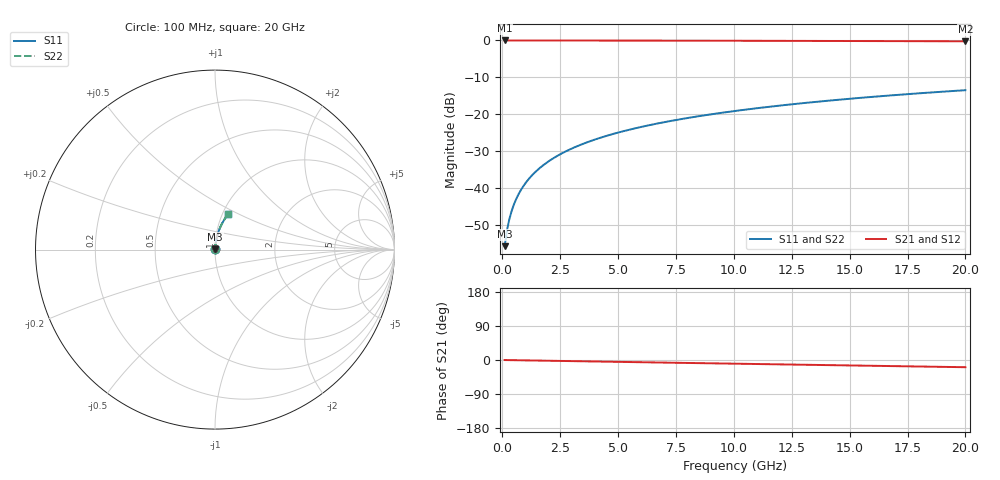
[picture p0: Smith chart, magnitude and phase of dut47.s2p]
! Touchstone file exported from HFSS 2026.1.0
!  File:  C:/ffzhzh/LocalFiles/Ansys_Project_Files/temp_train_TMRDL_47_1782880810_46784.aedt
!  Generated:  12:41:23 PM Jul  1, 2026
!  Design:  TMRDL
!  Project:  temp_train_TMRDL_47_1782880810_46784
! Variables:
!  h_bsmrdl = 2um
!  h_ox = 20um
!  h_rdl = 5um
!  h_sub = 80um
!  h_tmrdl = 5.15um
!  h_tsv = 80um
!  h_via = 3um
!  l_bsmrdl = 300um
!  l_sub = 629.77um
!  l_tmrdl = 229.77um
!  m_sub = 200um
!  pitch = 48.3um
!  r_tsv = 6um
!  s_tmrdl = 10um
!  w_bsmrdl = 18um
!  w_sub = 500um
!  w_tmrdl = 16.54um
!  x_tsv_center1 = 238.04um
!  x_tsv_center2 = 556.04um
!  x_tsv_center3 = 802.35um
!  x_tsv_center4 = 1120.35um
!  x_tsv_center5 = 1366.66um
!  x_tsv_center6 = 1684.66um
# GHz S MA R 50.000000
! Terminal data exported
! Port[1] = TM_RDL1_1_T1
! Port[2] = TM_RDL1_1_T2
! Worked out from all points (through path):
!   200 points, 100 MHz to 20 GHz, reference 50 ohm
!   highest |S21| = -0.01 dB at 100 MHz (marker M1); lowest = -0.2 dB at 20 GHz (marker M2)
!   group delay of S21, straight-line fit = 2.64 ps
!   lowest |S11| = -55.8 dB at 100 MHz (marker M3), VSWR 1.00, Z = 50.1 + j0.12 ohm
!   |S11| at or under -10 dB: start of sweep to end of sweep
!   |S22| runs from -55.8 to -13.5 dB; largest |S21 - S12| = 2e-15
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0.1  0.001615 48.0  0.9989 -0.1  0.9989 -0.1  0.001615 48.0
! Gamma 0 0 0 0
! Port Impedance 50 0 50 0
0.2  0.002626 64.5  0.9989 -0.2  0.9989 -0.2  0.002626 64.5
0.3  0.003708 71.5  0.9988 -0.3  0.9988 -0.3  0.003708 71.5
0.4  0.00481 75.3  0.9988 -0.4  0.9988 -0.4  0.00481 75.3
0.5  0.005924 77.7  0.9988 -0.5  0.9988 -0.5  0.005924 77.7
0.7  0.00817 80.5  0.9987 -0.7  0.9987 -0.7  0.00817 80.5
0.8  0.009299 81.4  0.9987 -0.8  0.9987 -0.8  0.009299 81.4
1  0.01156 82.6  0.9986 -1.0  0.9986 -1.0  0.01156 82.6
1.2  0.01383 83.3  0.9985 -1.2  0.9985 -1.2  0.01383 83.3
1.4  0.0161 83.7  0.9985 -1.4  0.9985 -1.4  0.0161 83.7
1.7  0.0195 84.0  0.9983 -1.7  0.9983 -1.7  0.0195 84.0
2  0.02289 84.2  0.9982 -2.0  0.9982 -2.0  0.02289 84.2
2.7  0.03076 84.1  0.9978 -2.7  0.9978 -2.7  0.03076 84.1
3.5  0.03967 83.6  0.9972 -3.5  0.9972 -3.5  0.03967 83.6
4.2  0.0474 83.1  0.9966 -4.1  0.9966 -4.1  0.0474 83.1
5  0.05618 82.5  0.9959 -4.9  0.9959 -4.9  0.05618 82.5
6.8  0.07569 81.0  0.9941 -6.7  0.9941 -6.7  0.07569 81.0
8.3  0.09176 79.8  0.9924 -8.1  0.9924 -8.1  0.09176 79.8
10.1  0.1108 78.2  0.99 -9.8  0.99 -9.8  0.1108 78.2
13.4  0.1452 75.3  0.985 -12.9  0.985 -12.9  0.1452 75.3
16.7  0.1787 72.4  0.979 -16.0  0.979 -16.0  0.1787 72.4
20  0.2112 69.5  0.9722 -19.0  0.9722 -19.0  0.2112 69.5
